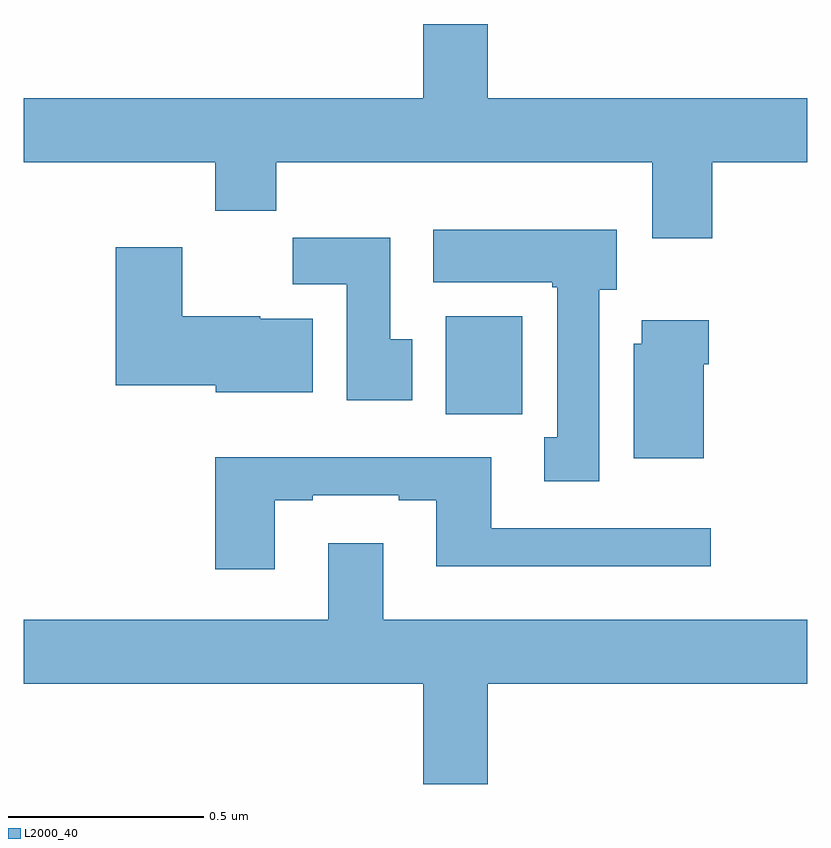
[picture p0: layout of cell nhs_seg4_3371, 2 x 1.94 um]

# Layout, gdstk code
import gdstk
lib = gdstk.Library(unit=1e-6, precision=1e-09)
def R(c, l, rs):  # rectangles x0, y0, x1, y1
    for r in rs: c.add(gdstk.rectangle(r[:2], r[2:], *l))
def P(c, l, *ps):  # polygons
    for p in ps: c.add(gdstk.Polygon(p, *l))
L2000_40 = (2000, 40)

nhs_seg4_3371 = lib.new_cell('nhs_seg4_3371')
R(nhs_seg4_3371, L2000_40, [(153.077,794.844,153.273,795.094)])
P(nhs_seg4_3371, L2000_40, [(153.758,795.488),(154,795.488),(154,795.652),(153.184,795.652),(153.184,795.841),(153.02,795.841),(153.02,795.652),(152,795.652),(152,795.488),(152.489,795.488),(152.489,795.364),(152.645,795.364),(152.645,795.488),(153.605,795.488),(153.605,795.294),(153.758,795.294)],
  [(153.469,795.162),(153.514,795.162),(153.514,795.316),(153.045,795.316),(153.045,795.182),(153.349,795.182),(153.349,795.169),(153.362,795.169),(153.362,794.785),(153.329,794.785),(153.329,794.673),(153.469,794.673)],
  [(152.992,795.036),(152.935,795.036),(152.935,795.295),(152.686,795.295),(152.686,795.176),(152.825,795.176),(152.825,794.88),(152.992,794.88)],
  [(152.737,795.088),(152.604,795.088),(152.604,795.094),(152.404,795.094),(152.404,795.271),(152.234,795.271),(152.234,794.918),(152.49,794.918),(152.49,794.9),(152.737,794.9)],
  [(153.736,794.972),(153.749,794.972),(153.749,795.085),(153.578,795.085),(153.578,795.024),(153.557,795.024),(153.557,794.732),(153.736,794.732)],
  [(152.641,794.625),(152.737,794.625),(152.737,794.637),(152.957,794.637),(152.957,794.625),(153.053,794.625),(153.053,794.456),(153.754,794.456),(153.754,794.553),(153.193,794.553),(153.193,794.734),(152.489,794.734),(152.489,794.448),(152.641,794.448)],
  [(153.184,794.156),(154,794.156),(154,794.32),(152.917,794.32),(152.917,794.515),(152.777,794.515),(152.777,794.32),(152,794.32),(152,794.156),(153.02,794.156),(153.02,793.9),(153.184,793.9)])

lib.write_gds('nhs_seg4_3371.gds')
